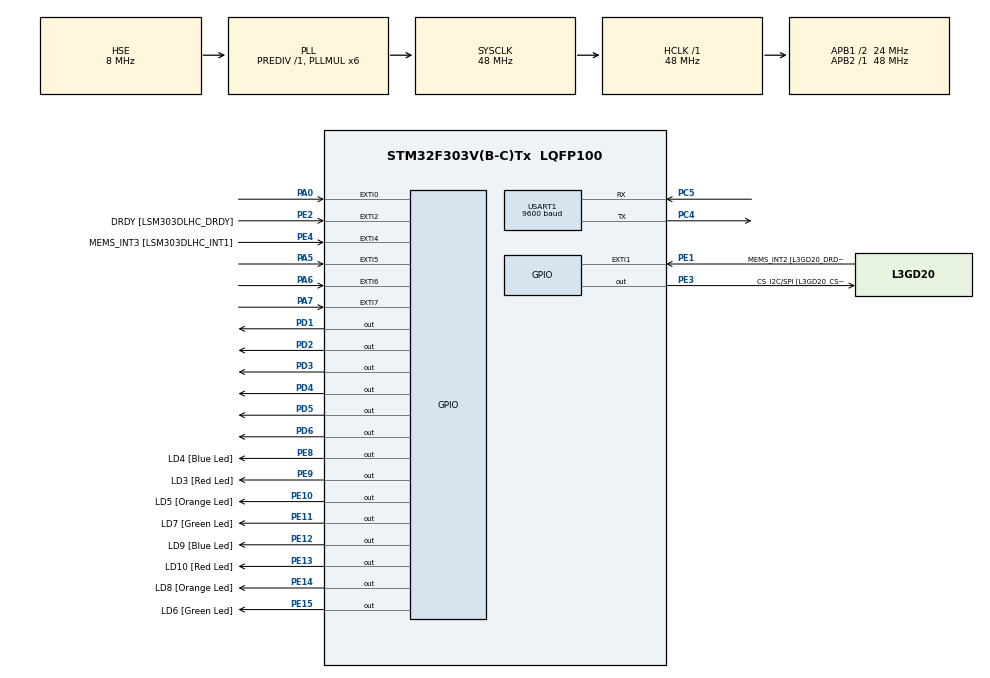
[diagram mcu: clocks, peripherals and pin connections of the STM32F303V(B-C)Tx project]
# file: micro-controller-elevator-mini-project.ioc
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Mcu.Family=STM32F3
Mcu.Name=STM32F303V(B-C)Tx
Mcu.Package=LQFP100
NVIC.EXTI9_5_IRQn=true\:1\:0\:true\:false\:true\:true\:true\:true
NVIC.PriorityGroup=NVIC_PRIORITYGROUP_2
NVIC.TIM2_IRQn=true\:1\:0\:true\:false\:true\:true\:true\:true
NVIC.TIM3_IRQn=true\:1\:0\:true\:false\:true\:true\:true\:true
NVIC.USART1_IRQn=true\:0\:0\:true\:false\:true\:true\:true\:true
PA0.GPIO_ModeDefaultEXTI=GPIO_MODE_IT_RISING_FALLING
PA0.GPIO_PuPd=GPIO_PULLDOWN
PA0.Signal=GPXTI0
PA11.GPIO_Label=DM
PA11.Signal=USB_DM
PA12.GPIO_Label=DP
PA12.Signal=USB_DP
PA13.GPIO_Label=SWDIO
PA13.Mode=Serial_Wire
PA13.Signal=SYS_JTMS-SWDIO
PA14.GPIO_Label=SWCLK
PA14.Mode=Serial_Wire
PA14.Signal=SYS_JTCK-SWCLK
PA5.Signal=GPXTI5
PA6.Signal=GPXTI6
PA7.Signal=GPXTI7
PB3.GPIO_Label=SWO
PB3.Signal=SYS_JTDO-TRACESWO
PC14-OSC32_IN.GPIO_Label=OSC32_IN
PC14-OSC32_IN.Signal=RCC_OSC32_IN
PC15-OSC32_OUT.GPIO_Label=OSC32_OUT
PC15-OSC32_OUT.Signal=RCC_OSC32_OUT
PC4.Mode=Asynchronous
PC4.Signal=USART1_TX
PC5.Mode=Asynchronous
PC5.Signal=USART1_RX
PD1.Signal=GPIO_Output
PD2.Signal=GPIO_Output
PD3.Signal=GPIO_Output
PD4.Signal=GPIO_Output
PD5.Signal=GPIO_Output
PD6.Signal=GPIO_Output
PE1.GPIO_Label=MEMS_INT2 [L3GD20_DRDY/INT2]
PE1.GPIO_ModeDefaultEXTI=GPIO_MODE_EVT_RISING
PE1.Signal=GPXTI1
PE10.GPIO_Label=LD5 [Orange Led]
PE10.Signal=GPIO_Output
PE11.GPIO_Label=LD7 [Green Led]
PE11.Signal=GPIO_Output
PE12.GPIO_Label=LD9 [Blue Led]
PE12.Signal=GPIO_Output
PE13.GPIO_Label=LD10 [Red Led]
PE13.Signal=GPIO_Output
PE14.GPIO_Label=LD8 [Orange Led]
PE14.Signal=GPIO_Output
PE15.GPIO_Label=LD6 [Green Led]
PE15.Signal=GPIO_Output
PE2.GPIO_Label=DRDY [LSM303DLHC_DRDY]
PE2.GPIO_ModeDefaultEXTI=GPIO_MODE_EVT_RISING
PE2.Signal=GPXTI2
PE3.GPIO_Label=CS_I2C/SPI [L3GD20_CS_I2C/SPI]
PE3.Signal=GPIO_Output
PE4.GPIO_Label=MEMS_INT3 [LSM303DLHC_INT1]
PE4.GPIO_ModeDefaultEXTI=GPIO_MODE_EVT_RISING
PE4.Signal=GPXTI4
PE8.GPIO_Label=LD4 [Blue Led]
PE8.Signal=GPIO_Output
PE9.GPIO_Label=LD3 [Red Led]
PE9.Signal=GPIO_Output
PF0-OSC_IN.GPIO_Label=OSC_IN
PF0-OSC_IN.Mode=HSE-External-Clock-Source
PF0-OSC_IN.Signal=RCC_OSC_IN
PF1-OSC_OUT.GPIO_Label=OSC_OUT
PF1-OSC_OUT.Signal=RCC_OSC_OUT
ProjectManager.HeapSize=0x200
ProjectManager.StackSize=0x400
ProjectManager.TargetToolchain=STM32CubeIDE
RCC.AHBFreq_Value=48000000
RCC.APB1CLKDivider=RCC_HCLK_DIV2
RCC.APB1Freq_Value=24000000
RCC.APB1TimFreq_Value=48000000
RCC.APB2Freq_Value=48000000
RCC.APB2TimFreq_Value=48000000
RCC.CortexFreq_Value=48000000
RCC.HCLKFreq_Value=48000000
RCC.HSE_VALUE=8000000
RCC.HSI_VALUE=8000000
RCC.LSE_VALUE=32768
RCC.PLLMUL=RCC_PLL_MUL6
RCC.PLLSourceVirtual=RCC_PLLSOURCE_HSE
RCC.SYSCLKFreq_VALUE=48000000
RCC.SYSCLKSourceVirtual=RCC_SYSCLKSOURCE_PLLCLK
RCC.USBFreq_Value=48000000
TIM2.Period=143
TIM2.Prescaler=999
TIM3.Period=239
TIM3.Prescaler=9999
USART1.BaudRate=9600
USART1.VirtualMode-Asynchronous=VM_ASYNC
VP_TIM2_VS_ClockSourceINT.Mode=Internal
VP_TIM3_VS_ClockSourceINT.Mode=Internal
board=STM32F3DISCOVERY

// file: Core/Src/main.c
/* USER CODE BEGIN Header */
/**
  ******************************************************************************
  * @file           : main.c
  * @brief          : Main program body
  ******************************************************************************
  * @attention
  *
  * Copyright (c) 2022 STMicroelectronics.
  * All rights reserved.
  *
  * This software is licensed under terms that can be found in the LICENSE file
  * in the root directory of this software component.
  * If no LICENSE file comes with this software, it is provided AS-IS.
  *
  ******************************************************************************
  */
/* USER CODE END Header */
#include "main.h"

/* USER CODE BEGIN Includes */
#include <stdbool.h>
#include "types.h"
#include "utility.h"
#include "logger.h"
/* USER CODE END Includes */

TIM_HandleTypeDef htim2;
TIM_HandleTypeDef htim3;

UART_HandleTypeDef huart1;

/* USER CODE BEGIN PV */
const int up_push_button_pin = GPIO_PIN_5;
const int down_push_button_pin = GPIO_PIN_6;
const int submit_push_button_pin = GPIO_PIN_7;
unsigned long last_debounce_time = 0;
unsigned long current_time = 0;

char command[50] = {0};
int command_index = 0;
uint8_t command_letter[1] = {0};

extern int user_input;
extern int current_floor;
extern int max_floor;
extern Queue floor_queue;
extern int is_idle;
extern bool is_admin_mode;
/* USER CODE END PV */

void SystemClock_Config(void);
static void MX_GPIO_Init(void);
static void MX_TIM2_Init(void);
static void MX_TIM3_Init(void);
static void MX_USART1_UART_Init(void);

/* USER CODE BEGIN 0 */
void onSubmitPress() {
  if (is_admin_mode) {
    log_for_submit(SUBMIT_ADMIN_MODE);
  } else if (current_floor == user_input) {
    log_for_submit(SUBMIT_CURRENT_FLOOR);
  } else {
    SubmitStatus status = add_to_floor_queue(user_input);
    is_idle = false;
    log_for_submit(status);
  }
}

void HAL_GPIO_EXTI_Callback(uint16_t GPIO_Pin) {
  current_time = HAL_GetTick();
  if (current_time - last_debounce_time < 200) return;
  last_debounce_time = current_time;

  switch(GPIO_Pin) {
    case up_push_button_pin:
      if(user_input < max_floor) user_input++;
      break;
    case down_push_button_pin:
      if(user_input > 0) user_input--;
        break;
    case submit_push_button_pin:
        onSubmitPress();
      break;
    default:
      break;
  }
}

void HAL_UART_RxCpltCallback(UART_HandleTypeDef *huart) {
  if (command_letter[0] != '\n') {
    command[command_index++] = command_letter[0];
  } else {
    command[command_index] = '\0';
    command_index = 0;
    parse_command(command);
  }
  HAL_UART_Receive_IT(&huart1, command_letter, 1);
}
/* USER CODE END 0 */

int main(void)
{

  /* MCU Configuration--------------------------------------------------------*/

  /* Reset of all peripherals, Initializes the Flash interface and the Systick. */
  HAL_Init();

  /* Configure the system clock */
  SystemClock_Config();

  /* Initialize all configured peripherals */
  MX_GPIO_Init();
  MX_TIM2_Init();
  MX_TIM3_Init();
  MX_USART1_UART_Init();
  /* USER CODE BEGIN 2 */
  HAL_TIM_Base_Start_IT(&htim2);
  HAL_TIM_Base_Start_IT(&htim3);
  HAL_UART_Receive_IT(&huart1, command_letter , 1);
  /* USER CODE END 2 */

  /* Infinite loop */
  while (1)
  {

  }
}

void SystemClock_Config(void)
{
  RCC_OscInitTypeDef RCC_OscInitStruct = {0};
  RCC_ClkInitTypeDef RCC_ClkInitStruct = {0};
  RCC_PeriphCLKInitTypeDef PeriphClkInit = {0};

  /** Initializes the RCC Oscillators according to the specified parameters
  * in the RCC_OscInitTypeDef structure.
  */
  RCC_OscInitStruct.OscillatorType = RCC_OSCILLATORTYPE_HSE;
  RCC_OscInitStruct.HSEState = RCC_HSE_BYPASS;
  RCC_OscInitStruct.HSEPredivValue = RCC_HSE_PREDIV_DIV1;
  RCC_OscInitStruct.HSIState = RCC_HSI_ON;
  RCC_OscInitStruct.PLL.PLLState = RCC_PLL_ON;
  RCC_OscInitStruct.PLL.PLLSource = RCC_PLLSOURCE_HSE;
  RCC_OscInitStruct.PLL.PLLMUL = RCC_PLL_MUL6;
  if (HAL_RCC_OscConfig(&RCC_OscInitStruct) != HAL_OK)
  {
    Error_Handler();
  }

  /** Initializes the CPU, AHB and APB buses clocks
  */
  RCC_ClkInitStruct.ClockType = RCC_CLOCKTYPE_HCLK|RCC_CLOCKTYPE_SYSCLK
                              |RCC_CLOCKTYPE_PCLK1|RCC_CLOCKTYPE_PCLK2;
  RCC_ClkInitStruct.SYSCLKSource = RCC_SYSCLKSOURCE_PLLCLK;
  RCC_ClkInitStruct.AHBCLKDivider = RCC_SYSCLK_DIV1;
  RCC_ClkInitStruct.APB1CLKDivider = RCC_HCLK_DIV2;
  RCC_ClkInitStruct.APB2CLKDivider = RCC_HCLK_DIV1;

  if (HAL_RCC_ClockConfig(&RCC_ClkInitStruct, FLASH_LATENCY_1) != HAL_OK)
  {
    Error_Handler();
  }
  PeriphClkInit.PeriphClockSelection = RCC_PERIPHCLK_USART1;
  PeriphClkInit.Usart1ClockSelection = RCC_USART1CLKSOURCE_PCLK2;
  if (HAL_RCCEx_PeriphCLKConfig(&PeriphClkInit) != HAL_OK)
  {
    Error_Handler();
  }
}

static void MX_TIM2_Init(void)
{

  TIM_ClockConfigTypeDef sClockSourceConfig = {0};
  TIM_MasterConfigTypeDef sMasterConfig = {0};

  htim2.Instance = TIM2;
  htim2.Init.Prescaler = 999;
  htim2.Init.CounterMode = TIM_COUNTERMODE_UP;
  htim2.Init.Period = 143;
  htim2.Init.ClockDivision = TIM_CLOCKDIVISION_DIV1;
  htim2.Init.AutoReloadPreload = TIM_AUTORELOAD_PRELOAD_DISABLE;
  if (HAL_TIM_Base_Init(&htim2) != HAL_OK)
  {
    Error_Handler();
  }
  sClockSourceConfig.ClockSource = TIM_CLOCKSOURCE_INTERNAL;
  if (HAL_TIM_ConfigClockSource(&htim2, &sClockSourceConfig) != HAL_OK)
  {
    Error_Handler();
  }
  sMasterConfig.MasterOutputTrigger = TIM_TRGO_RESET;
  sMasterConfig.MasterSlaveMode = TIM_MASTERSLAVEMODE_DISABLE;
  if (HAL_TIMEx_MasterConfigSynchronization(&htim2, &sMasterConfig) != HAL_OK)
  {
    Error_Handler();
  }

}

static void MX_TIM3_Init(void)
{

  TIM_ClockConfigTypeDef sClockSourceConfig = {0};
  TIM_MasterConfigTypeDef sMasterConfig = {0};

  htim3.Instance = TIM3;
  htim3.Init.Prescaler = 9999;
  htim3.Init.CounterMode = TIM_COUNTERMODE_UP;
  htim3.Init.Period = 239;
  htim3.Init.ClockDivision = TIM_CLOCKDIVISION_DIV1;
  htim3.Init.AutoReloadPreload = TIM_AUTORELOAD_PRELOAD_DISABLE;
  if (HAL_TIM_Base_Init(&htim3) != HAL_OK)
  {
    Error_Handler();
  }
  sClockSourceConfig.ClockSource = TIM_CLOCKSOURCE_INTERNAL;
  if (HAL_TIM_ConfigClockSource(&htim3, &sClockSourceConfig) != HAL_OK)
  {
    Error_Handler();
  }
  sMasterConfig.MasterOutputTrigger = TIM_TRGO_RESET;
  sMasterConfig.MasterSlaveMode = TIM_MASTERSLAVEMODE_DISABLE;
  if (HAL_TIMEx_MasterConfigSynchronization(&htim3, &sMasterConfig) != HAL_OK)
  {
    Error_Handler();
  }

}

static void MX_USART1_UART_Init(void)
{

  huart1.Instance = USART1;
  huart1.Init.BaudRate = 9600;
  huart1.Init.WordLength = UART_WORDLENGTH_8B;
  huart1.Init.StopBits = UART_STOPBITS_1;
  huart1.Init.Parity = UART_PARITY_NONE;
  huart1.Init.Mode = UART_MODE_TX_RX;
  huart1.Init.HwFlowCtl = UART_HWCONTROL_NONE;
  huart1.Init.OverSampling = UART_OVERSAMPLING_16;
  huart1.Init.OneBitSampling = UART_ONE_BIT_SAMPLE_DISABLE;
  huart1.AdvancedInit.AdvFeatureInit = UART_ADVFEATURE_NO_INIT;
  if (HAL_UART_Init(&huart1) != HAL_OK)
  {
    Error_Handler();
  }

}

static void MX_GPIO_Init(void)
{
  GPIO_InitTypeDef GPIO_InitStruct = {0};

  /* GPIO Ports Clock Enable */
  __HAL_RCC_GPIOE_CLK_ENABLE();
  __HAL_RCC_GPIOC_CLK_ENABLE();
  __HAL_RCC_GPIOF_CLK_ENABLE();
  __HAL_RCC_GPIOA_CLK_ENABLE();
  __HAL_RCC_GPIOD_CLK_ENABLE();
  __HAL_RCC_GPIOB_CLK_ENABLE();

  /*Configure GPIO pin Output Level */
  HAL_GPIO_WritePin(GPIOE, CS_I2C_SPI_Pin|LD4_Pin|LD3_Pin|LD5_Pin
                          |LD7_Pin|LD9_Pin|LD10_Pin|LD8_Pin
                          |LD6_Pin, GPIO_PIN_RESET);

  /*Configure GPIO pin Output Level */
  HAL_GPIO_WritePin(GPIOD, GPIO_PIN_1|GPIO_PIN_2|GPIO_PIN_3|GPIO_PIN_4
                          |GPIO_PIN_5|GPIO_PIN_6, GPIO_PIN_RESET);

  /*Configure GPIO pins : DRDY_Pin MEMS_INT3_Pin MEMS_INT2_Pin */
  GPIO_InitStruct.Pin = DRDY_Pin|MEMS_INT3_Pin|MEMS_INT2_Pin;
  GPIO_InitStruct.Mode = GPIO_MODE_EVT_RISING;
  GPIO_InitStruct.Pull = GPIO_NOPULL;
  HAL_GPIO_Init(GPIOE, &GPIO_InitStruct);

  /*Configure GPIO pins : CS_I2C_SPI_Pin LD4_Pin LD3_Pin LD5_Pin
                           LD7_Pin LD9_Pin LD10_Pin LD8_Pin
                           LD6_Pin */
  GPIO_InitStruct.Pin = CS_I2C_SPI_Pin|LD4_Pin|LD3_Pin|LD5_Pin
                          |LD7_Pin|LD9_Pin|LD10_Pin|LD8_Pin
                          |LD6_Pin;
  GPIO_InitStruct.Mode = GPIO_MODE_OUTPUT_PP;
  GPIO_InitStruct.Pull = GPIO_NOPULL;
  GPIO_InitStruct.Speed = GPIO_SPEED_FREQ_LOW;
  HAL_GPIO_Init(GPIOE, &GPIO_InitStruct);

  /*Configure GPIO pin : PA0 */
  GPIO_InitStruct.Pin = GPIO_PIN_0;
  GPIO_InitStruct.Mode = GPIO_MODE_IT_RISING_FALLING;
  GPIO_InitStruct.Pull = GPIO_PULLDOWN;
  HAL_GPIO_Init(GPIOA, &GPIO_InitStruct);

  /*Configure GPIO pins : PA5 PA6 PA7 */
  GPIO_InitStruct.Pin = GPIO_PIN_5|GPIO_PIN_6|GPIO_PIN_7;
  GPIO_InitStruct.Mode = GPIO_MODE_IT_RISING;
  GPIO_InitStruct.Pull = GPIO_NOPULL;
  HAL_GPIO_Init(GPIOA, &GPIO_InitStruct);

  /*Configure GPIO pins : DM_Pin DP_Pin */
  GPIO_InitStruct.Pin = DM_Pin|DP_Pin;
  GPIO_InitStruct.Mode = GPIO_MODE_AF_PP;
  GPIO_InitStruct.Pull = GPIO_NOPULL;
  GPIO_InitStruct.Speed = GPIO_SPEED_FREQ_HIGH;
  GPIO_InitStruct.Alternate = GPIO_AF14_USB;
  HAL_GPIO_Init(GPIOA, &GPIO_InitStruct);

  /*Configure GPIO pins : PD1 PD2 PD3 PD4
                           PD5 PD6 */
  GPIO_InitStruct.Pin = GPIO_PIN_1|GPIO_PIN_2|GPIO_PIN_3|GPIO_PIN_4
                          |GPIO_PIN_5|GPIO_PIN_6;
  GPIO_InitStruct.Mode = GPIO_MODE_OUTPUT_PP;
  GPIO_InitStruct.Pull = GPIO_NOPULL;
  GPIO_InitStruct.Speed = GPIO_SPEED_FREQ_LOW;
  HAL_GPIO_Init(GPIOD, &GPIO_InitStruct);

  /* EXTI interrupt init*/
  HAL_NVIC_SetPriority(EXTI9_5_IRQn, 1, 0);
  HAL_NVIC_EnableIRQ(EXTI9_5_IRQn);

}

void Error_Handler(void)
{
  __disable_irq();
  while (1)
  {
  }
}
